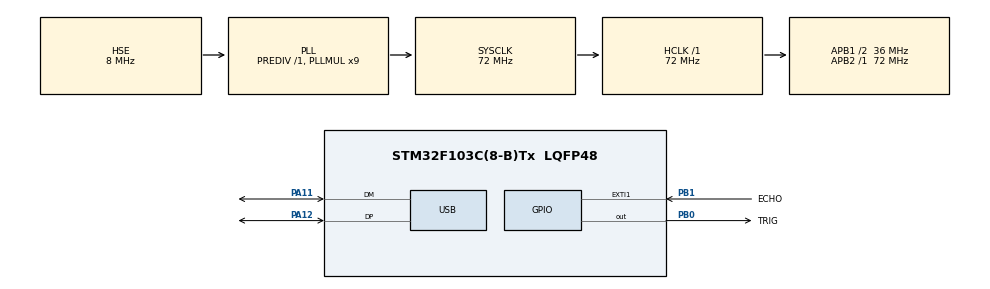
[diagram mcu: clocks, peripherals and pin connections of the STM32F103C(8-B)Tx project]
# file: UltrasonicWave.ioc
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Mcu.Family=STM32F1
Mcu.Name=STM32F103C(8-B)Tx
Mcu.Package=LQFP48
NVIC.EXTI1_IRQn=true\:0\:0\:false\:false\:true\:true\:true\:true
NVIC.PriorityGroup=NVIC_PRIORITYGROUP_4
NVIC.USB_LP_CAN1_RX0_IRQn=true\:0\:0\:false\:false\:true\:false\:true\:true
PA11.Mode=Device
PA11.Signal=USB_DM
PA12.Mode=Device
PA12.Signal=USB_DP
PA13.Mode=Serial_Wire
PA13.Signal=SYS_JTMS-SWDIO
PA14.Mode=Serial_Wire
PA14.Signal=SYS_JTCK-SWCLK
PB0.GPIO_Label=TRIG
PB0.Signal=GPIO_Output
PB1.GPIO_Label=ECHO
PB1.GPIO_ModeDefaultEXTI=GPIO_MODE_IT_RISING_FALLING
PB1.Signal=GPXTI1
PD0-OSC_IN.Mode=HSE-External-Oscillator
PD0-OSC_IN.Signal=RCC_OSC_IN
PD1-OSC_OUT.Mode=HSE-External-Oscillator
PD1-OSC_OUT.Signal=RCC_OSC_OUT
ProjectManager.HeapSize=0x200
ProjectManager.StackSize=0x400
ProjectManager.TargetToolchain=STM32CubeIDE
RCC.AHBFreq_Value=72000000
RCC.APB1CLKDivider=RCC_HCLK_DIV2
RCC.APB1Freq_Value=36000000
RCC.APB1TimFreq_Value=72000000
RCC.APB2Freq_Value=72000000
RCC.APB2TimFreq_Value=72000000
RCC.HCLKFreq_Value=72000000
RCC.PLLMUL=RCC_PLL_MUL9
RCC.PLLSourceVirtual=RCC_PLLSOURCE_HSE
RCC.SYSCLKFreq_VALUE=72000000
RCC.SYSCLKSource=RCC_SYSCLKSOURCE_PLLCLK
RCC.USBFreq_Value=48000000
RCC.USBPrescaler=RCC_USBCLKSOURCE_PLL_DIV1_5
TIM1.Prescaler=72-1
USB_DEVICE.CLASS_NAME_FS=CDC
USB_DEVICE.VirtualMode=Cdc
USB_DEVICE.VirtualModeFS=Cdc_FS
VP_TIM1_VS_ClockSourceINT.Mode=Internal
VP_USB_DEVICE_VS_USB_DEVICE_CDC_FS.Mode=CDC_FS
board=custom

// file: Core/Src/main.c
/* USER CODE BEGIN Header */
/**
  ******************************************************************************
  * @file           : main.c
  * @brief          : Main program body
  ******************************************************************************
  * @attention
  *
  * Copyright (c) 2023 STMicroelectronics.
  * All rights reserved.
  *
  * This software is licensed under terms that can be found in the LICENSE file
  * in the root directory of this software component.
  * If no LICENSE file comes with this software, it is provided AS-IS.
  *
  ******************************************************************************
  */
/* USER CODE END Header */
#include "main.h"
#include "tim.h"
#include "usb_device.h"
#include "gpio.h"

/* USER CODE BEGIN Includes */
#include "usbd_cdc_if.h"
#include "string.h"
/* USER CODE END Includes */

/* USER CODE BEGIN PV */
extern uint8_t low_flag;

extern uint32_t counter;

char buffer[20];
/* USER CODE END PV */

void SystemClock_Config(void);

/* USER CODE BEGIN 0 */
void delay_us(uint32_t us){
    uint32_t loadTemp = SysTick->LOAD, ctrlTemp = SysTick->CTRL;

    SysTick->LOAD = (HAL_RCC_GetHCLKFreq()/8000000) * us;

    SysTick->VAL  = 0;
    SysTick->CTRL = 1;

    while (!((SysTick->CTRL & (1<<16))));

    SysTick->LOAD = loadTemp;
    SysTick->CTRL = ctrlTemp;
}
/* USER CODE END 0 */

int main(void)
{

  /* MCU Configuration--------------------------------------------------------*/

  /* Reset of all peripherals, Initializes the Flash interface and the Systick. */
  HAL_Init();

  /* Configure the system clock */
  SystemClock_Config();

  /* Initialize all configured peripherals */
  MX_GPIO_Init();
  MX_TIM1_Init();
  MX_USB_DEVICE_Init();
  /* USER CODE BEGIN 2 */
    HAL_TIM_Base_Start(&htim1);
    CDC_Transmit_FS((uint8_t *)"Start", strlen("Start"));
  /* USER CODE END 2 */

  /* Infinite loop */
  while (1)
  {

      //HAL_Delay(1);
      TRIG_GPIO_Port->BSRR = TRIG_Pin;
      delay_us(12);
      TRIG_GPIO_Port->BRR = TRIG_Pin;

      if(low_flag == SET){
          double distance;
          low_flag = RESET;

          distance = ((float )counter/2.)/29.154;
          sprintf(buffer,"%.3lf cm%c ",distance,'\n');
          CDC_Transmit_FS((uint8_t *)buffer, strlen(buffer));

          HAL_Delay(1000);
      }

  }
}

void SystemClock_Config(void)
{
  RCC_OscInitTypeDef RCC_OscInitStruct = {0};
  RCC_ClkInitTypeDef RCC_ClkInitStruct = {0};
  RCC_PeriphCLKInitTypeDef PeriphClkInit = {0};

  /** Initializes the RCC Oscillators according to the specified parameters
  * in the RCC_OscInitTypeDef structure.
  */
  RCC_OscInitStruct.OscillatorType = RCC_OSCILLATORTYPE_HSE;
  RCC_OscInitStruct.HSEState = RCC_HSE_ON;
  RCC_OscInitStruct.HSEPredivValue = RCC_HSE_PREDIV_DIV1;
  RCC_OscInitStruct.HSIState = RCC_HSI_ON;
  RCC_OscInitStruct.PLL.PLLState = RCC_PLL_ON;
  RCC_OscInitStruct.PLL.PLLSource = RCC_PLLSOURCE_HSE;
  RCC_OscInitStruct.PLL.PLLMUL = RCC_PLL_MUL9;
  if (HAL_RCC_OscConfig(&RCC_OscInitStruct) != HAL_OK)
  {
    Error_Handler();
  }

  /** Initializes the CPU, AHB and APB buses clocks
  */
  RCC_ClkInitStruct.ClockType = RCC_CLOCKTYPE_HCLK|RCC_CLOCKTYPE_SYSCLK
                              |RCC_CLOCKTYPE_PCLK1|RCC_CLOCKTYPE_PCLK2;
  RCC_ClkInitStruct.SYSCLKSource = RCC_SYSCLKSOURCE_PLLCLK;
  RCC_ClkInitStruct.AHBCLKDivider = RCC_SYSCLK_DIV1;
  RCC_ClkInitStruct.APB1CLKDivider = RCC_HCLK_DIV2;
  RCC_ClkInitStruct.APB2CLKDivider = RCC_HCLK_DIV1;

  if (HAL_RCC_ClockConfig(&RCC_ClkInitStruct, FLASH_LATENCY_2) != HAL_OK)
  {
    Error_Handler();
  }
  PeriphClkInit.PeriphClockSelection = RCC_PERIPHCLK_USB;
  PeriphClkInit.UsbClockSelection = RCC_USBCLKSOURCE_PLL_DIV1_5;
  if (HAL_RCCEx_PeriphCLKConfig(&PeriphClkInit) != HAL_OK)
  {
    Error_Handler();
  }
}

void Error_Handler(void)
{
  __disable_irq();
  while (1)
  {
  }
}
